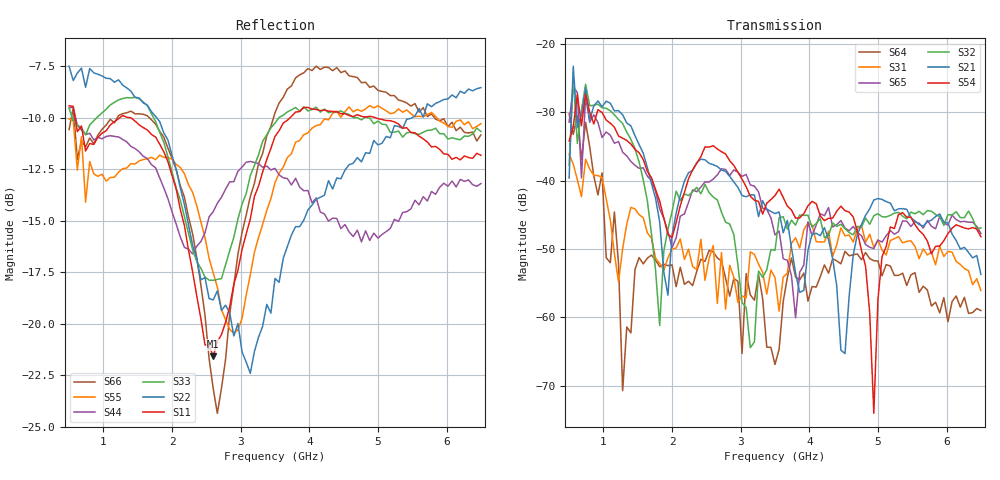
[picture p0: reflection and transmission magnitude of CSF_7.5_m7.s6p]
!Keysight Technologies,M9804A,MY58100912,A.14.10.03
!Date: Thursday, April 27, 2023 10:28:33
!Correction: S11(C  6-Port  )
!S12(C  6-Port  )
!S13(C  6-Port  )
!S14(C  6-Port  )
!S15(C  6-Port  )
!S16(C  6-Port  )
!S21(C  6-Port  )
!S22(C  6-Port  )
!S23(C  6-Port  )
!S24(C  6-Port  )
!S25(C  6-Port  )
!S26(C  6-Port  )
!S31(C  6-Port  )
!S32(C  6-Port  )
!S33(C  6-Port  )
!S34(C  6-Port  )
!S35(C  6-Port  )
!S36(C  6-Port  )
!S41(C  6-Port  )
!S42(C  6-Port  )
!S43(C  6-Port  )
!S44(C  6-Port  )
!S45(C  6-Port  )
!S46(C  6-Port  )
!S51(C  6-Port  )
!S52(C  6-Port  )
!S53(C  6-Port  )
!S54(C  6-Port  )
!S55(C  6-Port  )
!S56(C  6-Port  )
!S61(C  6-Port  )
!S62(C  6-Port  )
!S63(C  6-Port  )
!S64(C  6-Port  )
!S65(C  6-Port  )
!S66(C  6-Port  )
!S6P File: Measurement: :
# Hz S  RI  R 50
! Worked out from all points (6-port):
!   101 points, 500 MHz to 6.5 GHz, reference 50 ohm
!   strongest paths, dB at 500 MHz, 2 GHz, 3.5 GHz, 5 GHz, 6.5 GHz:
!     S54: -34.2, -48.3, -42.2, -57.4, -48.2
!     S21: -39.6, -47.9, -44.8, -42.6, -53.7
!     S32: -37.7, -44.5, -50.2, -44.8, -46.9
!     S65: -31.4, -49.8, -47.9, -48.7, -47.7
!     S31: -36.1, -50.0, -54.2, -48.6, -56.1
!     S64: -30.2, -52.3, -66.9, -51.7, -59.0
!   lowest |S11| = -21.6 dB at 2.6 GHz (marker M1), VSWR 1.18, Z = 42.6 + j2.07 ohm
!   |S11| at or under -10 dB: 587.4 MHz to 1.235 GHz (647.5 MHz wide, 71.1 % of centre); 1.402 GHz to 3.717 GHz (2.315 GHz wide, 90.4 % of centre); 4.97 GHz to end of sweep
